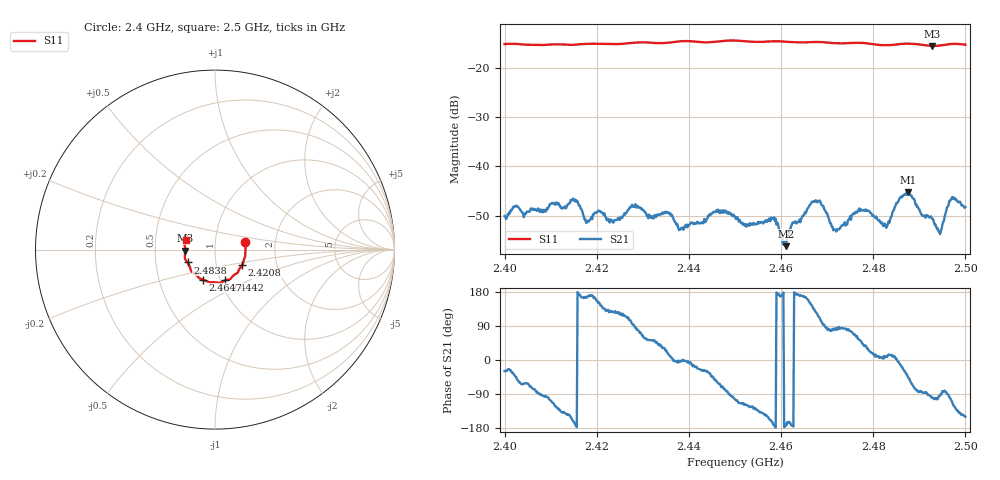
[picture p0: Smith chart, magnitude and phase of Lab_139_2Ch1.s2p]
# Hz S RI R 50
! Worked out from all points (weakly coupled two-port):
!   601 points, 2.4 GHz to 2.5 GHz, reference 50 ohm
!   highest |S21| = -45.20 dB at 2.4875 GHz (marker M1); lowest = -56.1 dB at 2.461 GHz (marker M2)
!   lowest |S11| = -15.6 dB at 2.4928 GHz (marker M3), VSWR 1.40, Z = 35.8 - j0.374 ohm
!   |S11| at or under -10 dB: start of sweep to end of sweep
!   S12 and S22 are empty: the file has one direction only
!   S11 on the Smith chart (normalised r, x): 2.4 GHz: 1.40, +0.12; 2.4208 GHz: 1.33, -0.24; 2.4442 GHz: 1.05, -0.37; 2.4647 GHz: 0.83, -0.29; 2.4838 GHz: 0.73, -0.11; 2.5 GHz: 0.72, +0.08
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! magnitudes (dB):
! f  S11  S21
! 2.4 GHz  -15.2  -50.0
! 2.4148 GHz  -15.4  -46.5
! 2.4167 GHz  -15.2  -48.6
! 2.418 GHz  -15.2  -51.0
! 2.4208 GHz  -15.2  -49.2
! 2.4333 GHz  -15.0  -49.9
! 2.4383 GHz  -14.7  -52.5
! 2.4442 GHz  -14.9  -50.0
! 2.45 GHz  -14.5  -50.2
! 2.4583 GHz  -14.7  -50.5
! 2.461 GHz  -14.8  -56.1
! 2.4647 GHz  -14.9  -50.0
! 2.4667 GHz  -14.8  -47.1
! 2.4718 GHz  -15.1  -52.8
! 2.4772 GHz  -15.0  -49.0
! 2.4833 GHz  -15.5  -51.1
! 2.4838 GHz  -15.4  -50.3
! 2.4875 GHz  -15.2  -45.2
! 2.4928 GHz  -15.6  -50.6
! 2.4943 GHz  -15.5  -53.2
! 2.497 GHz  -15.2  -46.4
! 2.5 GHz  -15.3  -48.2
